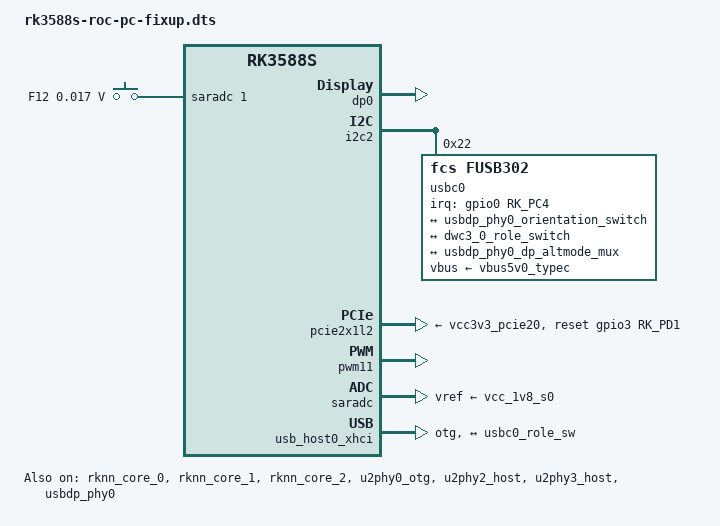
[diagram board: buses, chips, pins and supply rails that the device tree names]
// SPDX-License-Identifier: (GPL-2.0+ OR MIT)

#include <dt-bindings/input/input.h>
#include <dt-bindings/usb/pd.h>

#include "rk3588s-roc-pc.dts"

/*
 * The shared upstream DTS is newer than Ubuntu 26.04's 7.0 kernel. Drop the
 * later HDMI FRL GPIO/pinctrl and UART pinctrl-name additions to retain the
 * v7.0 board setup.
 */
&hdmi0 {
	/delete-property/ frl-enable-gpios;
	/delete-property/ pinctrl-0;
	/delete-property/ pinctrl-names;
};

&pinctrl {
	/delete-node/ hdmi;
};

&uart7 {
	/delete-property/ pinctrl-names;
};

/* The BSP's ADC recovery key is not present in the upstream board file. */
/ {
	adc-keys {
		compatible = "adc-keys";
		io-channels = <&saradc 1>;
		io-channel-names = "buttons";
		keyup-threshold-microvolt = <1800000>;
		poll-interval = <100>;

		recovery-key {
			label = "F12";
			linux,code = <KEY_F12>;
			press-threshold-microvolt = <17000>;
		};
	};
};

&dp0 {
	status = "okay";
};

&dp0_in {
	dp0_in_vp2: endpoint {
		remote-endpoint = <&vp2_out_dp0>;
	};
};

&vp2 {
	vp2_out_dp0: endpoint@a {
		reg = <ROCKCHIP_VOP2_EP_DP0>;
		remote-endpoint = <&dp0_in_vp2>;
	};
};

&i2c2 {
	usbc0: fusb302@22 {
		compatible = "fcs,fusb302";
		reg = <0x22>;
		interrupt-parent = <&gpio0>;
		interrupts = <RK_PC4 IRQ_TYPE_LEVEL_LOW>;
		pinctrl-names = "default";
		pinctrl-0 = <&usbc0_int>;
		vbus-supply = <&vbus5v0_typec>;

		usb_con: connector {
			compatible = "usb-c-connector";
			label = "USB-C";
			data-role = "dual";
			power-role = "dual";
			try-power-role = "sink";
			op-sink-microwatt = <1000000>;
			sink-pdos = <PDO_FIXED(5000, 1000, PDO_FIXED_USB_COMM)>;
			source-pdos = <PDO_FIXED(5000, 3000, PDO_FIXED_USB_COMM)>;

			altmodes {
				#address-cells = <1>;
				#size-cells = <0>;

				altmode@0 {
					reg = <0>;
					svid = <0xff01>;
					vdo = <0xffffffff>;
				};
			};

			ports {
				#address-cells = <1>;
				#size-cells = <0>;

				port@0 {
					reg = <0>;
					usbc0_orien_sw: endpoint {
						remote-endpoint = <&usbdp_phy0_orientation_switch>;
					};
				};

				port@1 {
					reg = <1>;
					usbc0_role_sw: endpoint {
						remote-endpoint = <&dwc3_0_role_switch>;
					};
				};

				port@2 {
					reg = <2>;
					dp_altmode_mux: endpoint {
						remote-endpoint = <&usbdp_phy0_dp_altmode_mux>;
					};
				};
			};
		};
	};
};

&package_thermal {
	sustainable-power = <5000>;
	polling-delay = <1000>;
	/* Linux 7.0 rejects passive polling slower than the normal interval. */
	polling-delay-passive = <1000>;

	trips {
		fan_trip0: trip-point0 {
			temperature = <55000>;
			hysteresis = <5000>;
			type = "active";
		};
		fan_trip1: trip-point1 {
			temperature = <60000>;
			hysteresis = <5000>;
			type = "active";
		};
		fan_trip2: trip-point2 {
			temperature = <65000>;
			hysteresis = <5000>;
			type = "active";
		};
		fan_trip3: trip-point3 {
			temperature = <70000>;
			hysteresis = <5000>;
			type = "active";
		};
		fan_trip4: trip-point4 {
			temperature = <75000>;
			hysteresis = <5000>;
			type = "active";
		};
		fan_trip5: trip-point5 {
			temperature = <80000>;
			hysteresis = <1000>;
			type = "active";
		};
	};

	cooling-maps {
		fan_map0 {
			trip = <&fan_trip0>;
			cooling-device = <&fan 0 1>;
			contribution = <1024>;
		};
		fan_map1 {
			trip = <&fan_trip1>;
			cooling-device = <&fan 1 2>;
			contribution = <1024>;
		};
		fan_map2 {
			trip = <&fan_trip2>;
			cooling-device = <&fan 2 3>;
			contribution = <1024>;
		};
		fan_map3 {
			trip = <&fan_trip3>;
			cooling-device = <&fan 3 4>;
			contribution = <1024>;
		};
		fan_map4 {
			trip = <&fan_trip4>;
			cooling-device = <&fan 4 5>;
			contribution = <1024>;
		};
		fan_map5 {
			trip = <&fan_trip5>;
			cooling-device = <&fan 5 6>;
			contribution = <1024>;
		};
	};
};

&pinctrl {
	usb {
		usbc0_int: usbc0-int {
			rockchip,pins = <0 RK_PC4 RK_FUNC_GPIO &pcfg_pull_up>;
		};

		typec5v_pwren: typec5v-pwren {
			rockchip,pins = <1 RK_PB1 RK_FUNC_GPIO &pcfg_pull_none>;
		};

		vcc5v0_host_en: vcc5v0-host-en {
			rockchip,pins = <1 RK_PB6 RK_FUNC_GPIO &pcfg_pull_none>;
		};
	};
};

/*
 * The ROC M.2 slot is PCIe domain 4 (pcie2x1l2), routed through Combo PHY0.
 * The upstream ROC DTS enables pcie2x1l1 (domain 3 / Combo PHY2) instead.
 * Disable that unused host so it cannot claim the M.2 PERST# line or conflict
 * with the USB3 PHY; enable and wire up the actual M.2 host below.
 */
&pcie2x1l1 {
	status = "disabled";
};

&vcc3v3_pcie20 {
	regulator-always-on;
};

&pcie2x1l2 {
	reset-gpios = <&gpio3 RK_PD1 GPIO_ACTIVE_HIGH>;
	vpcie3v3-supply = <&vcc3v3_pcie20>;
	status = "okay";
};

/* Enable all RK3588 NPU cores for the mainline DRM accel/rocket driver. */
&rknn_core_0 {
	npu-supply = <&vdd_npu_s0>;
	sram-supply = <&vdd_npu_s0>;
	status = "okay";
};

&rknn_mmu_0 {
	status = "okay";
};

&rknn_core_1 {
	npu-supply = <&vdd_npu_s0>;
	sram-supply = <&vdd_npu_s0>;
	status = "okay";
};

&rknn_mmu_1 {
	status = "okay";
};

&rknn_core_2 {
	npu-supply = <&vdd_npu_s0>;
	sram-supply = <&vdd_npu_s0>;
	status = "okay";
};

&rknn_mmu_2 {
	status = "okay";
};

/*
 * RK3588's TRNG reset is optional in the Linux driver. The SCMI reset
 * provider in this firmware does not expose this domain, so keep the TRNG
 * from deferring forever while retaining its SCMI clock.
 */
&{/rng@fe378000} {
	/delete-property/ resets;
};

&pwm11 {
	pinctrl-names = "default";
	pinctrl-0 = <&pwm11m3_pins>;
	status = "okay";
};

&saradc {
	vref-supply = <&vcc_1v8_s0>;
	status = "okay";
};

&u2phy0_otg {
	status = "okay";
};

&u2phy2_host {
	phy-supply = <&vcc5v0_host>;
	status = "okay";
};

&u2phy3_host {
	phy-supply = <&vcc5v0_host>;
	status = "okay";
};

&usb_host0_xhci {
	/delete-property/ extcon;
	dr_mode = "otg";
	usb-role-switch;
	status = "okay";

	port {
		dwc3_0_role_switch: endpoint {
			remote-endpoint = <&usbc0_role_sw>;
		};
	};
};

&usbdp_phy0 {
	status = "okay";
	mode-switch;
	orientation-switch;
	sbu1-dc-gpios = <&gpio4 RK_PB5 GPIO_ACTIVE_HIGH>;
	sbu2-dc-gpios = <&gpio4 RK_PA7 GPIO_ACTIVE_HIGH>;

	port {
		#address-cells = <1>;
		#size-cells = <0>;

		usbdp_phy0_orientation_switch: endpoint@0 {
			reg = <0>;
			remote-endpoint = <&usbc0_orien_sw>;
		};

		usbdp_phy0_dp_altmode_mux: endpoint@1 {
			reg = <1>;
			remote-endpoint = <&dp_altmode_mux>;
		};
	};
};
